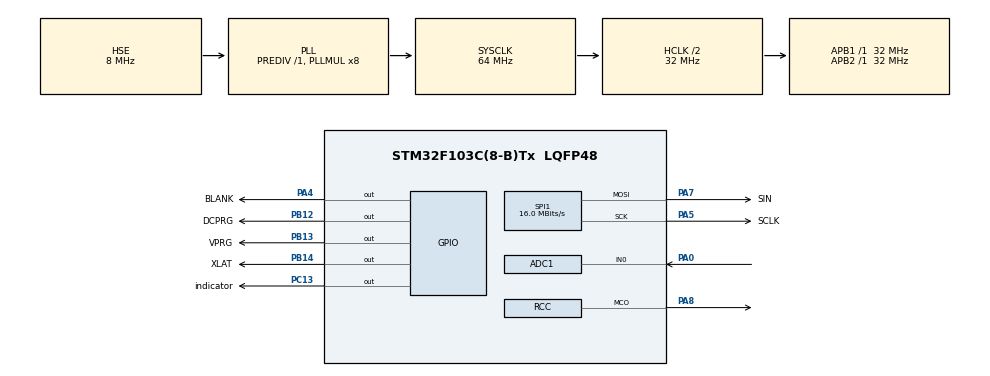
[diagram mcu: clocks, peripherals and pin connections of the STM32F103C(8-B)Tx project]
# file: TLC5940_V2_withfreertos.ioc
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ADC1.Channel-3\#ChannelRegularConversion=ADC_CHANNEL_0
ADC1.NbrOfConversionFlag=1
ADC1.Rank-3\#ChannelRegularConversion=1
ADC1.SamplingTime-3\#ChannelRegularConversion=ADC_SAMPLETIME_1CYCLE_5
ADC1.master=1
FREERTOS.BinarySemaphores01=myBinarySem01,Dynamic,NULL
FREERTOS.MEMORY_ALLOCATION=0
FREERTOS.Tasks01=TheTask1,0,128,StartTask1,Default,NULL,Dynamic,NULL,NULL;TheTask2,-3,256,StartTask2,Default,NULL,Dynamic,NULL,NULL
FREERTOS.configTIMER_QUEUE_LENGTH=10
FREERTOS.configTIMER_TASK_PRIORITY=2
FREERTOS.configTIMER_TASK_STACK_DEPTH=256
FREERTOS.configTOTAL_HEAP_SIZE=3600
FREERTOS.configUSE_TIMERS=0
Mcu.Family=STM32F1
Mcu.Name=STM32F103C(8-B)Tx
Mcu.Package=LQFP48
NVIC.PriorityGroup=NVIC_PRIORITYGROUP_4
NVIC.TIM1_UP_IRQn=true\:0\:0\:false\:false\:true\:false\:false
NVIC.TIM2_IRQn=true\:5\:0\:false\:false\:true\:true\:true
NVIC.TimeBase=TIM1_UP_IRQn
NVIC.TimeBaseIP=TIM1
PA0-WKUP.Signal=ADCx_IN0
PA13.Mode=Serial_Wire
PA13.Signal=SYS_JTMS-SWDIO
PA14.Mode=Serial_Wire
PA14.Signal=SYS_JTCK-SWCLK
PA4.GPIO_Label=BLANK
PA4.GPIO_PuPd=GPIO_PULLDOWN
PA4.Signal=GPIO_Output
PA5.GPIO_Label=SCLK
PA5.Mode=TX_Only_Simplex_Unidirect_Master
PA5.Signal=SPI1_SCK
PA7.GPIO_Label=SIN
PA7.Mode=TX_Only_Simplex_Unidirect_Master
PA7.Signal=SPI1_MOSI
PA8.Mode=Clock-out
PA8.Signal=RCC_MCO
PB12.GPIO_Label=DCPRG
PB12.GPIO_PuPd=GPIO_PULLDOWN
PB12.Signal=GPIO_Output
PB13.GPIO_Label=VPRG
PB13.GPIO_PuPd=GPIO_PULLDOWN
PB13.Signal=GPIO_Output
PB14.GPIO_Label=XLAT
PB14.GPIO_PuPd=GPIO_PULLDOWN
PB14.Signal=GPIO_Output
PC13-TAMPER-RTC.GPIO_Label=indicator
PC13-TAMPER-RTC.GPIO_PuPd=GPIO_PULLDOWN
PC13-TAMPER-RTC.Signal=GPIO_Output
PC14-OSC32_IN.Mode=LSE-External-Oscillator
PC14-OSC32_IN.Signal=RCC_OSC32_IN
PC15-OSC32_OUT.Mode=LSE-External-Oscillator
PC15-OSC32_OUT.Signal=RCC_OSC32_OUT
PD0-OSC_IN.Mode=HSE-External-Oscillator
PD0-OSC_IN.Signal=RCC_OSC_IN
PD1-OSC_OUT.Mode=HSE-External-Oscillator
PD1-OSC_OUT.Signal=RCC_OSC_OUT
ProjectManager.HeapSize=0x200
ProjectManager.StackSize=0x400
ProjectManager.TargetToolchain=SW4STM32
RCC.ADCPresc=RCC_ADCPCLK2_DIV4
RCC.AHBCLKDivider=RCC_SYSCLK_DIV2
RCC.AHBFreq_Value=32000000
RCC.APB1Freq_Value=32000000
RCC.APB1TimFreq_Value=32000000
RCC.APB2Freq_Value=32000000
RCC.APB2TimFreq_Value=32000000
RCC.HCLKFreq_Value=32000000
RCC.PLLMUL=RCC_PLL_MUL8
RCC.PLLSourceVirtual=RCC_PLLSOURCE_HSE
RCC.RCC_MCOSource=RCC_MCO1SOURCE_PLLCLK
RCC.SYSCLKFreq_VALUE=64000000
RCC.SYSCLKSource=RCC_SYSCLKSOURCE_PLLCLK
RCC.USBFreq_Value=64000000
SH.ADCx_IN0.0=ADC1_IN0,IN0
SPI1.BaudRatePrescaler=SPI_BAUDRATEPRESCALER_2
SPI1.CLKPhase=SPI_PHASE_1EDGE
SPI1.CLKPolarity=SPI_POLARITY_LOW
SPI1.CalculateBaudRate=16.0 MBits/s
SPI1.DataSize=SPI_DATASIZE_8BIT
SPI1.Direction=SPI_DIRECTION_2LINES
SPI1.FirstBit=SPI_FIRSTBIT_MSB
SPI1.Mode=SPI_MODE_MASTER
SPI1.VirtualType=VM_MASTER
TIM2.ClockDivision=TIM_CLOCKDIVISION_DIV1
TIM2.Period=4096
VP_FREERTOS_VS_ENABLE.Mode=Enabled
VP_SYS_VS_tim1.Mode=TIM1
VP_TIM2_VS_ClockSourceITR.Mode=TriggerSource_ITR0
board=custom

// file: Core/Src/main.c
/* USER CODE BEGIN Header */
/**
  ******************************************************************************
  * @file           : main.c
  * @brief          : Main program body
  ******************************************************************************
  * This notice applies to any and all portions of this file
  * that are not between comment pairs USER CODE BEGIN and
  * USER CODE END. Other portions of this file, whether
  * inserted by the user or by software development tools
  * are owned by their respective copyright owners.
  *
  * Copyright (c) 2019 STMicroelectronics International N.V.
  * All rights reserved.
  *
  * Redistribution and use in source and binary forms, with or without
  * modification, are permitted, provided that the following conditions are met:
  *
  * 1. Redistribution of source code must retain the above copyright notice,
  *    this list of conditions and the following disclaimer.
  * 2. Redistributions in binary form must reproduce the above copyright notice,
  *    this list of conditions and the following disclaimer in the documentation
  *    and/or other materials provided with the distribution.
  * 3. Neither the name of STMicroelectronics nor the names of other
  *    contributors to this software may be used to endorse or promote products
  *    derived from this software without specific written permission.
  * 4. This software, including modifications and/or derivative works of this
  *    software, must execute solely and exclusively on microcontroller or
  *    microprocessor devices manufactured by or for STMicroelectronics.
  * 5. Redistribution and use of this software other than as permitted under
  *    this license is void and will automatically terminate your rights under
  *    this license.
  *
  * THIS SOFTWARE IS PROVIDED BY STMICROELECTRONICS AND CONTRIBUTORS "AS IS"
  * AND ANY EXPRESS, IMPLIED OR STATUTORY WARRANTIES, INCLUDING, BUT NOT
  * LIMITED TO, THE IMPLIED WARRANTIES OF MERCHANTABILITY, FITNESS FOR A
  * PARTICULAR PURPOSE AND NON-INFRINGEMENT OF THIRD PARTY INTELLECTUAL PROPERTY
  * RIGHTS ARE DISCLAIMED TO THE FULLEST EXTENT PERMITTED BY LAW. IN NO EVENT
  * SHALL STMICROELECTRONICS OR CONTRIBUTORS BE LIABLE FOR ANY DIRECT, INDIRECT,
  * INCIDENTAL, SPECIAL, EXEMPLARY, OR CONSEQUENTIAL DAMAGES (INCLUDING, BUT NOT
  * LIMITED TO, PROCUREMENT OF SUBSTITUTE GOODS OR SERVICES; LOSS OF USE, DATA,
  * OR PROFITS; OR BUSINESS INTERRUPTION) HOWEVER CAUSED AND ON ANY THEORY OF
  * LIABILITY, WHETHER IN CONTRACT, STRICT LIABILITY, OR TORT (INCLUDING
  * NEGLIGENCE OR OTHERWISE) ARISING IN ANY WAY OUT OF THE USE OF THIS SOFTWARE,
  * EVEN IF ADVISED OF THE POSSIBILITY OF SUCH DAMAGE.
  *
  ******************************************************************************
  */
/* USER CODE END Header */

#include "main.h"
#include "cmsis_os.h"
#include "adc.h"
#include "spi.h"
#include "tim.h"
#include "gpio.h"

/* USER CODE BEGIN Includes */
#include "TLC5940.h"
#include "TLC5940_RGB.h"
#include <stdlib.h>
/* USER CODE END Includes */

void SystemClock_Config(void);
void MX_FREERTOS_Init(void);
/* USER CODE BEGIN PFP */
//static inline void TLC5940_SetGSUpdateFlag(void) {
//	__asm__ volatile ("" ::: "memory");
//	gsUpdateFlag = 1;
//}

//extern void initialise_monitor_handles(void);
/* USER CODE END PFP */

int main(void)
{
  /* USER CODE BEGIN 1 */
//  initialise_monitor_handles();
//  printf("main\n");
  /* USER CODE END 1 */

  /* MCU Configuration--------------------------------------------------------*/

  /* Reset of all peripherals, Initializes the Flash interface and the Systick. */
  HAL_Init();

  /* Configure the system clock */
  SystemClock_Config();

  /* Initialize all configured peripherals */
  MX_GPIO_Init();
  MX_SPI1_Init();
  MX_TIM2_Init();
  MX_ADC1_Init();
  /* USER CODE BEGIN 2 */
  TLC5940_Init();
  TLC5940_SetAllDC(63);
  TLC5940_ClockInDC();
  TLC5940_SetAllGS(0);

  HAL_ADC_Start(&hadc1);

  uint32_t adcval = 0;

  if (HAL_ADC_PollForConversion(&hadc1, 1000000) == HAL_OK)
	{
	  adcval = HAL_ADC_GetValue(&hadc1);
	}

//  printf("adc:%i\n", (int)adcval);

  HAL_ADC_Stop(&hadc1);

  srand(adcval);
  /* USER CODE END 2 */

  /* Call init function for freertos objects (in freertos.c) */
  MX_FREERTOS_Init();

  /* Start scheduler */
  osKernelStart();

  /* We should never get here as control is now taken by the scheduler */

  /* Infinite loop */
  while (1)
  {

  }
}

void SystemClock_Config(void)
{
  RCC_OscInitTypeDef RCC_OscInitStruct = {0};
  RCC_ClkInitTypeDef RCC_ClkInitStruct = {0};
  RCC_PeriphCLKInitTypeDef PeriphClkInit = {0};

  /**Initializes the CPU, AHB and APB busses clocks
  */
  RCC_OscInitStruct.OscillatorType = RCC_OSCILLATORTYPE_HSE;
  RCC_OscInitStruct.HSEState = RCC_HSE_ON;
  RCC_OscInitStruct.HSEPredivValue = RCC_HSE_PREDIV_DIV1;
  RCC_OscInitStruct.HSIState = RCC_HSI_ON;
  RCC_OscInitStruct.PLL.PLLState = RCC_PLL_ON;
  RCC_OscInitStruct.PLL.PLLSource = RCC_PLLSOURCE_HSE;
  RCC_OscInitStruct.PLL.PLLMUL = RCC_PLL_MUL8;
  if (HAL_RCC_OscConfig(&RCC_OscInitStruct) != HAL_OK)
  {
    Error_Handler();
  }
  /**Initializes the CPU, AHB and APB busses clocks
  */
  RCC_ClkInitStruct.ClockType = RCC_CLOCKTYPE_HCLK|RCC_CLOCKTYPE_SYSCLK
                              |RCC_CLOCKTYPE_PCLK1|RCC_CLOCKTYPE_PCLK2;
  RCC_ClkInitStruct.SYSCLKSource = RCC_SYSCLKSOURCE_PLLCLK;
  RCC_ClkInitStruct.AHBCLKDivider = RCC_SYSCLK_DIV2;
  RCC_ClkInitStruct.APB1CLKDivider = RCC_HCLK_DIV1;
  RCC_ClkInitStruct.APB2CLKDivider = RCC_HCLK_DIV1;

  if (HAL_RCC_ClockConfig(&RCC_ClkInitStruct, FLASH_LATENCY_2) != HAL_OK)
  {
    Error_Handler();
  }
  PeriphClkInit.PeriphClockSelection = RCC_PERIPHCLK_ADC;
  PeriphClkInit.AdcClockSelection = RCC_ADCPCLK2_DIV4;
  if (HAL_RCCEx_PeriphCLKConfig(&PeriphClkInit) != HAL_OK)
  {
    Error_Handler();
  }
  HAL_RCC_MCOConfig(RCC_MCO, RCC_MCO1SOURCE_PLLCLK, RCC_MCODIV_1);
}

void HAL_TIM_PeriodElapsedCallback(TIM_HandleTypeDef *htim)
{
  if (htim->Instance == TIM1) {
    HAL_IncTick();
  }
}

void Error_Handler(void)
{
}

/************************ (C) COPYRIGHT STMicroelectronics *****END OF FILE****/

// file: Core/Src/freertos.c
/* USER CODE BEGIN Header */
/**
  ******************************************************************************
  * File Name          : freertos.c
  * Description        : Code for freertos applications
  ******************************************************************************
  * This notice applies to any and all portions of this file
  * that are not between comment pairs USER CODE BEGIN and
  * USER CODE END. Other portions of this file, whether
  * inserted by the user or by software development tools
  * are owned by their respective copyright owners.
  *
  * Copyright (c) 2019 STMicroelectronics International N.V.
  * All rights reserved.
  *
  * Redistribution and use in source and binary forms, with or without
  * modification, are permitted, provided that the following conditions are met:
  *
  * 1. Redistribution of source code must retain the above copyright notice,
  *    this list of conditions and the following disclaimer.
  * 2. Redistributions in binary form must reproduce the above copyright notice,
  *    this list of conditions and the following disclaimer in the documentation
  *    and/or other materials provided with the distribution.
  * 3. Neither the name of STMicroelectronics nor the names of other
  *    contributors to this software may be used to endorse or promote products
  *    derived from this software without specific written permission.
  * 4. This software, including modifications and/or derivative works of this
  *    software, must execute solely and exclusively on microcontroller or
  *    microprocessor devices manufactured by or for STMicroelectronics.
  * 5. Redistribution and use of this software other than as permitted under
  *    this license is void and will automatically terminate your rights under
  *    this license.
  *
  * THIS SOFTWARE IS PROVIDED BY STMICROELECTRONICS AND CONTRIBUTORS "AS IS"
  * AND ANY EXPRESS, IMPLIED OR STATUTORY WARRANTIES, INCLUDING, BUT NOT
  * LIMITED TO, THE IMPLIED WARRANTIES OF MERCHANTABILITY, FITNESS FOR A
  * PARTICULAR PURPOSE AND NON-INFRINGEMENT OF THIRD PARTY INTELLECTUAL PROPERTY
  * RIGHTS ARE DISCLAIMED TO THE FULLEST EXTENT PERMITTED BY LAW. IN NO EVENT
  * SHALL STMICROELECTRONICS OR CONTRIBUTORS BE LIABLE FOR ANY DIRECT, INDIRECT,
  * INCIDENTAL, SPECIAL, EXEMPLARY, OR CONSEQUENTIAL DAMAGES (INCLUDING, BUT NOT
  * LIMITED TO, PROCUREMENT OF SUBSTITUTE GOODS OR SERVICES; LOSS OF USE, DATA,
  * OR PROFITS; OR BUSINESS INTERRUPTION) HOWEVER CAUSED AND ON ANY THEORY OF
  * LIABILITY, WHETHER IN CONTRACT, STRICT LIABILITY, OR TORT (INCLUDING
  * NEGLIGENCE OR OTHERWISE) ARISING IN ANY WAY OUT OF THE USE OF THIS SOFTWARE,
  * EVEN IF ADVISED OF THE POSSIBILITY OF SUCH DAMAGE.
  *
  ******************************************************************************
  */
/* USER CODE END Header */

#include "FreeRTOS.h"
#include "task.h"
#include "main.h"
#include "cmsis_os.h"

/* USER CODE BEGIN Includes */
#include "TLC5940_RGB.h"
#include "math.h"
#include <stdlib.h>
#include "tim.h"
/* USER CODE END Includes */

/* USER CODE BEGIN PD */
#define PI 3.14159265
/* USER CODE END PD */

/* USER CODE BEGIN Variables */

osMessageQId message_q_Handle;

osPoolId  mpool_id;

osPoolDef(mpool_id, 16, Led_selection);

/* USER CODE END Variables */
osThreadId TheTask1Handle;
osThreadId TheTask2Handle;
osSemaphoreId myBinarySem01Handle;

/* USER CODE BEGIN FunctionPrototypes */
static inline void TLC5940_SetGSUpdateFlag(void) {
	__asm__ volatile ("" ::: "memory");
	gsUpdateFlag = 1;
}
/* USER CODE END FunctionPrototypes */

void StartTask1(void const * argument);
void StartTask2(void const * argument);

void MX_FREERTOS_Init(void); /* (MISRA C 2004 rule 8.1) */

void MX_FREERTOS_Init(void) {
  /* USER CODE BEGIN Init */
	osMessageQDef(message_q, 5, uint32_t); // Declare a message queue
	message_q_Handle = osMessageCreate(osMessageQ(message_q), NULL);

	mpool_id = osPoolCreate (osPool (mpool_id));

  /* USER CODE END Init */

  /* Create the semaphores(s) */
  /* definition and creation of myBinarySem01 */
  osSemaphoreDef(myBinarySem01);
  myBinarySem01Handle = osSemaphoreCreate(osSemaphore(myBinarySem01), 1);

  /* Create the thread(s) */
  /* definition and creation of TheTask1 */
  osThreadDef(TheTask1, StartTask1, osPriorityNormal, 0, 128);
  TheTask1Handle = osThreadCreate(osThread(TheTask1), NULL);

  /* definition and creation of TheTask2 */
  osThreadDef(TheTask2, StartTask2, osPriorityIdle, 0, 256);
  TheTask2Handle = osThreadCreate(osThread(TheTask2), NULL);

}

void StartTask1(void const * argument)
{

  /* USER CODE BEGIN StartTask1 */
  /* Infinite loop */

	HAL_TIM_Base_Start_IT(&htim2);

	//========================= START init

	for(int i = 0; i < 15; i++)
	{
		while(gsUpdateFlag)
		{
		}
		TLC5940_SetAllGS(0);
		TLC5940_SetGS(i, 4095);
		TLC5940_SetGSUpdateFlag();
		HAL_Delay(500);
//		printf("check\n");
	}

	//========================= END init

	int32_t value;
//	printf("Task1 start\n");

	int simulatetime = 0;
	int maxsimultime = 10000;

	Led_selection *mled__selection;

//	int heartbeat = 0;

  for(;;)
  {
    value = osSemaphoreWait (myBinarySem01Handle, 1);        // Wait 1ms for the free semaphore
    if (value > 0) {

    	if(simulatetime > maxsimultime)
    	{
    		uint32_t randomchannel = rand() % 3;
    		uint32_t randomstep = rand() % 11; // 0 - 10
    		uint32_t randomled = rand() % 5;
    		uint32_t randomdelays = (rand() % 100000) + 5000; // 5 - 100 sec
    		uint32_t turnoff = rand() % 10;

    		maxsimultime = randomdelays;

//    		printf("led: %i channel: %i steps:%i delay:%i\n", (int)randomled, (int)randomchannel, (int)randomstep, (int)maxsimultime);

			HAL_GPIO_TogglePin(indicator_GPIO_Port,indicator_Pin);

			mled__selection = osPoolAlloc(mpool_id);
			mled__selection->channel = randomchannel;
			mled__selection->ledindex = randomled;
			mled__selection->stepselect = randomstep;

			if(turnoff == 0)
			{
				mled__selection->stepselect = 99;
			}

			osMessagePut(message_q_Handle, (uint32_t)mled__selection, osWaitForever);

			simulatetime = 0;
    	}
    	simulatetime++;

//    	if(heartbeat > 1000)
//    	{
//    		HAL_GPIO_TogglePin(indicator_GPIO_Port,indicator_Pin);
//    		heartbeat = 0;
//    	}
//    	heartbeat++;

	  osSemaphoreRelease (myBinarySem01Handle);            // Return a token back to a semaphore
	}

  }
  /* USER CODE END StartTask1 */
}

void StartTask2(void const * argument)
{
  /* USER CODE BEGIN StartTask2 */
  /* Infinite loop */
//	printf("Task2 start\n");
	Led_selection *recv_led__selection;
	osEvent evt;
//	double stepsize_opt[5] = {0.01, 0.01 ,0.01, 0.01, 0.01};

//	double stepsize_opt[5] = {0.01 ,0.001, 0.005, 0.0001, 0.00001};

	double stepsize_opt[11] = {0.01, 0.01, 0.001, 0.001, 0.001, 0.005, 0.005, 0.005, 0.0001, 0.0001, 0.00001};

	Led led[5];

	int ledupdate;
	for(int i = 0;i < 5;i++)
	{
		led[i].r_steps = stepsize_opt[9];
		led[i].g_steps = stepsize_opt[9];
		led[i].b_steps = stepsize_opt[9];

		led[i].r_angle = 0;
		led[i].b_angle = 0;
		led[i].g_angle = 0;

		led[i].rval = 0;
		led[i].gval = 0;
		led[i].bval = 0;
	}

//	int rval = 0;
//	int gval = 0;
//	int bval = 0;

  for(;;)
  {
	  osSemaphoreWait (myBinarySem01Handle, 1);

	  evt = osMessageGet(message_q_Handle, 1);
	  if (evt.status == osEventMessage) {
		  recv_led__selection = evt.value.p;

		  ledupdate = recv_led__selection->ledindex;

		  switch (recv_led__selection->channel)
		  {
		  case 0:
			  if((int)recv_led__selection->stepselect == 99)
			  {
				  led[ledupdate].r_steps = 0;
			  }
			  else
			  {
				  led[ledupdate].r_steps = stepsize_opt[(int)recv_led__selection->stepselect];
			  }
			  break;
		  case 1:
			  if((int)recv_led__selection->stepselect == 99)
			  {
				  led[ledupdate].g_steps = 0;
			  }
			  else
			  {
				  led[ledupdate].g_steps = stepsize_opt[(int)recv_led__selection->stepselect];
			  }
			  break;
		  case 2:
			  if((int)recv_led__selection->stepselect == 99)
			  {
				  led[ledupdate].b_steps = 0;
			  }
			  else
			  {
				  led[ledupdate].b_steps = stepsize_opt[(int)recv_led__selection->stepselect];
			  }
			  break;
		  }

		  osPoolFree(mpool_id, recv_led__selection);
	  }

	for(int i = 0; i < 5;i++)
	{
	  led[i].r_angle = led[i].r_angle + led[i].r_steps;
	  led[i].g_angle = led[i].g_angle + led[i].g_steps;
	  led[i].b_angle = led[i].b_angle + led[i].b_steps;

	  if(led[i].r_angle > 6 * PI || led[i].r_steps == 0)
		{
		  led[i].r_angle = 0;
		}
	  if(led[i].g_angle > 6 * PI || led[i].g_steps == 0)
		{
		  led[i].g_angle = 0;
		}
	  if(led[i].b_angle > 6 * PI || led[i].b_steps == 0)
		{
		  led[i].b_angle = 0;
		}

//		set_led(i, (int)( (0.5*(1+sin(led[i].r_angle))) * 4095),
//				  (int)( (0.5*(1+sin(led[i].g_angle))) * 4095),
//				  (int)( (0.5*(1+sin(led[i].b_angle))) * 4095));

//	  rval = (int)( (0.5*(1+sin(sin(led[i].r_angle)))) * 4095);
//	  gval = (int)( (0.5*(1+sin(sin(led[i].g_angle)))) * 4095);
//	  bval = (int)( (0.5*(1+sin(sin(led[i].b_angle)))) * 4095);

	  led[i].rval = (int)( (0.5*(1+sin(led[i].r_angle))) * 4095);
	  led[i].gval = (int)( (0.5*(1+sin(led[i].g_angle))) * 4095);
	  led[i].bval = (int)( (0.5*(1+sin(led[i].b_angle))) * 4095);

	  while(gsUpdateFlag)
	  {
	  }
	  TLC5940_SetAllGS(0);
	  set_led(i, led[i].rval,  led[i].gval, led[i].bval);

	  TLC5940_SetGSUpdateFlag();
	}

	  osSemaphoreRelease (myBinarySem01Handle);
  }
  /* USER CODE END StartTask2 */
}

/************************ (C) COPYRIGHT STMicroelectronics *****END OF FILE****/
